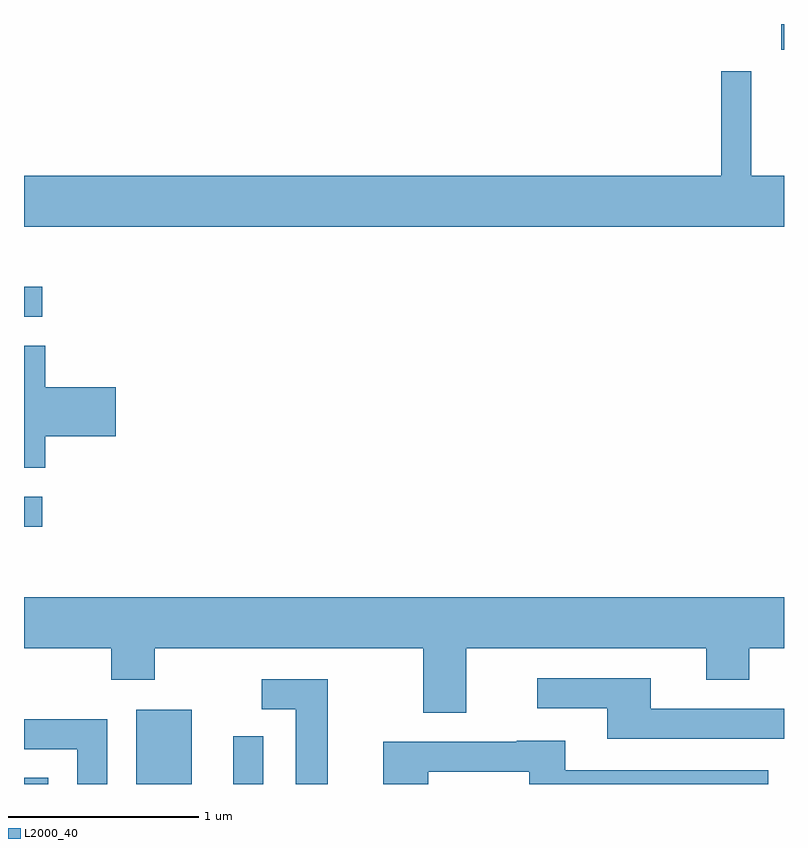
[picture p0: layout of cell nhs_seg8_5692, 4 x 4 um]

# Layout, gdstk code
import gdstk
lib = gdstk.Library(unit=1e-6, precision=1e-09)
def R(c, l, rs):  # rectangles x0, y0, x1, y1
    for r in rs: c.add(gdstk.rectangle(r[:2], r[2:], *l))
def P(c, l, *ps):  # polygons
    for p in ps: c.add(gdstk.Polygon(p, *l))
L2000_40 = (2000, 40)

nhs_seg8_5692 = lib.new_cell('nhs_seg8_5692')
R(nhs_seg8_5692, L2000_40, [(355.611,1862.342,355.739,1862.374), (356.201,1862.342,356.494,1862.734), (356.711,1862.342,356.869,1862.593), (355.611,1863.696,355.708,1863.854), (355.611,1864.801,355.708,1864.959), (359.596,1866.206,359.611,1866.342)])
P(nhs_seg8_5692, L2000_40, [(359.611,1865.544),(359.439,1865.544),(359.439,1866.093),(359.281,1866.093),(359.281,1865.544),(355.611,1865.544),(355.611,1865.276),(359.611,1865.276)],
  [(355.724,1864.171),(356.094,1864.171),(356.094,1864.429),(355.724,1864.429),(355.724,1864.649),(355.611,1864.649),(355.611,1864.006),(355.724,1864.006)],
  [(357.939,1863.056),(359.201,1863.056),(359.201,1862.891),(359.429,1862.891),(359.429,1863.056),(359.611,1863.056),(359.611,1863.324),(355.611,1863.324),(355.611,1863.056),(356.071,1863.056),(356.071,1862.891),(356.299,1862.891),(356.299,1863.056),(357.711,1863.056),(357.711,1862.716),(357.939,1862.716)],
  [(359.611,1862.739),(358.909,1862.739),(358.909,1862.899),(358.313,1862.899),(358.313,1862.741),(358.681,1862.741),(358.681,1862.581),(359.611,1862.581)],
  [(357.209,1862.894),(356.863,1862.894),(356.863,1862.736),(357.041,1862.736),(357.041,1862.342),(357.209,1862.342)],
  [(356.049,1862.684),(355.611,1862.684),(355.611,1862.526),(355.891,1862.526),(355.891,1862.342),(356.049,1862.342)],
  [(357.739,1862.406),(358.271,1862.406),(358.271,1862.342),(359.528,1862.342),(359.528,1862.414),(358.459,1862.414),(358.459,1862.569),(358.205,1862.569),(358.205,1862.564),(357.501,1862.564),(357.501,1862.342),(357.739,1862.342)])

lib.write_gds('nhs_seg8_5692.gds')
